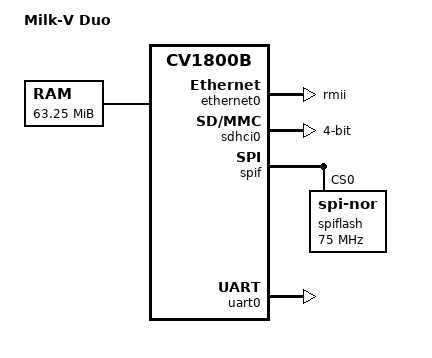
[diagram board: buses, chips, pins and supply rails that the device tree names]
// SPDX-License-Identifier: (GPL-2.0 OR MIT)
/*
 * Copyright (C) 2023 Jisheng Zhang <jszhang@kernel.org>
 */

/dts-v1/;

#include "cv1800b.dtsi"

/ {
	model = "Milk-V Duo";
	compatible = "milkv,duo", "sophgo,cv1800b";

	aliases {
		serial0 = &uart0;
		serial1 = &uart1;
		serial2 = &uart2;
		serial3 = &uart3;
		serial4 = &uart4;
	};

	chosen {
		stdout-path = "serial0:115200n8";
	};

	memory@80000000 {
		device_type = "memory";
		reg = <0x80000000 0x3f40000>;
	};
};

&ethernet0 {
	status = "okay";
	phy-mode = "rmii";
};

&osc {
	clock-frequency = <25000000>;
};

&sdhci0 {
	status = "okay";
	bus-width = <4>;
	no-1-8-v;
	no-mmc;
	no-sdio;
};

&spif {
	status = "okay";

	spiflash@0 {
		compatible = "jedec,spi-nor";
		reg = <0>;
		spi-max-frequency = <75000000>;
		spi-tx-bus-width = <4>;
		spi-rx-bus-width = <4>;
		m25p,fast-read;
	};
};

&uart0 {
	status = "okay";
};
